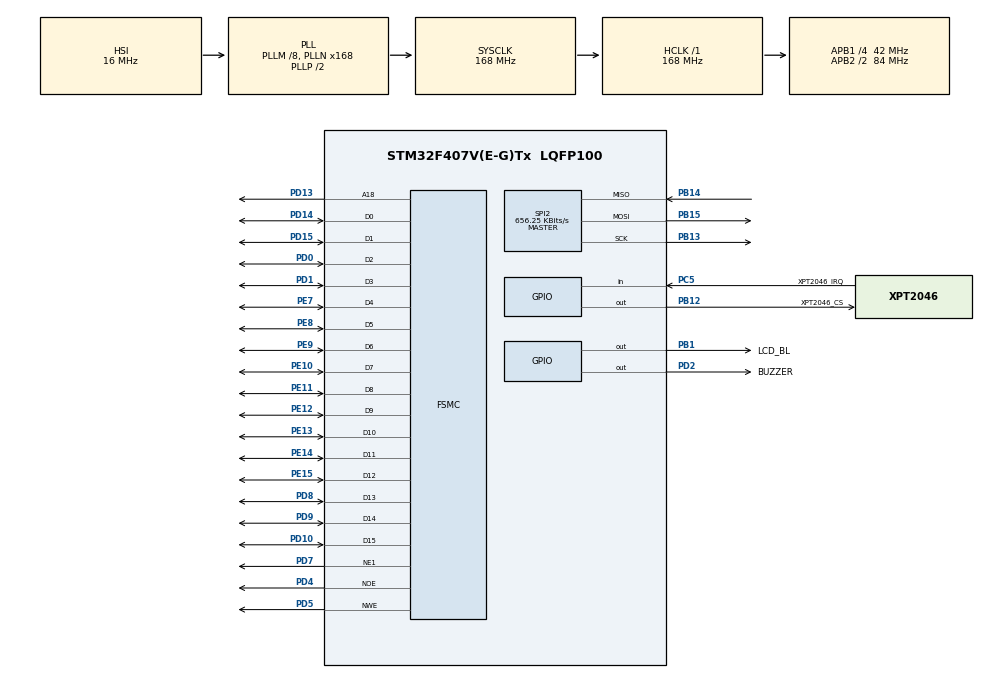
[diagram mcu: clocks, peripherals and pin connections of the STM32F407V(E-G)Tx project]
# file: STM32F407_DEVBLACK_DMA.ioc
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Mcu.Family=STM32F4
PD7.Mode=NorPsramChipSelect1_1
RCC.CortexFreq_Value=168000000
SPI2.VirtualType=VM_MASTER
PB13.Signal=SPI2_SCK
PB15.Signal=SPI2_MOSI
PD9.Mode=16b-d1
RCC.SYSCLKSource=RCC_SYSCLKSOURCE_PLLCLK
ProjectManager.StackSize=0x400
PD13.Signal=FSMC_A18
PE11.Mode=16b-d1
RCC.HCLKFreq_Value=168000000
PD4.Signal=FSMC_NOE
RCC.APB2TimFreq_Value=168000000
PD10.Mode=16b-d1
PD0.Signal=FSMC_D2
PD8.Signal=FSMC_D13
FREERTOS.configMINIMAL_STACK_SIZE=512
RCC.AHBFreq_Value=168000000
SPI2.BaudRatePrescaler=SPI_BAUDRATEPRESCALER_64
PD5.Mode=Lcd1
RCC.HSE_VALUE=25000000
FREERTOS.configUSE_TIMERS=1
PB12.GPIO_Label=XPT2046_CS
PE13.Signal=FSMC_D10
PE9.Signal=FSMC_D6
PB14.Mode=Full_Duplex_Master
PD14.Mode=16b-d1
VP_SYS_VS_tim1.Mode=TIM1
Dma.MEMTOMEM.0.Instance=DMA2_Stream0
PB1.GPIO_Label=LCD_BL
SPI2.CalculateBaudRate=656.25 KBits/s
PE13.Mode=16b-d1
VP_FREERTOS_VS_CMSIS_V1.Mode=CMSIS_V1
PE10.Signal=FSMC_D7
PB1.PinState=GPIO_PIN_SET
PD15.Mode=16b-d1
Mcu.Package=LQFP100
PB1.Signal=GPIO_Output
NVIC.TimeBase=TIM1_UP_TIM10_IRQn
SPI2.Mode=SPI_MODE_MASTER
Dma.MEMTOMEM.0.PeriphInc=DMA_PINC_ENABLE
NVIC.TimeBaseIP=TIM1
Dma.MEMTOMEM.0.FIFOThreshold=DMA_FIFO_THRESHOLD_FULL
PE9.Mode=16b-d1
RCC.APB2CLKDivider=RCC_HCLK_DIV2
PD4.Mode=Lcd1
RCC.APB1TimFreq_Value=84000000
SPI2.Direction=SPI_DIRECTION_2LINES
PC5.Signal=GPIO_Input
PB13.Mode=Full_Duplex_Master
PE7.Signal=FSMC_D4
Dma.Request0=MEMTOMEM
PD15.Signal=FSMC_D1
PE12.Mode=16b-d1
Dma.MEMTOMEM.0.MemDataAlignment=DMA_MDATAALIGN_HALFWORD
FREERTOS.Tasks01=defaultTask,0,512,StartDefaultTask,Default,NULL,Static,defaultTaskBuffer,defaultTaskControlBlock
Dma.MEMTOMEM.0.Priority=DMA_PRIORITY_LOW
FSMC.ExtendedMode1=FSMC_EXTENDED_MODE_ENABLE
PE10.Mode=16b-d1
PD7.Signal=FSMC_NE1
PD1.Signal=FSMC_D3
PD9.Signal=FSMC_D14
PD5.Signal=FSMC_NWE
RCC.APB1CLKDivider=RCC_HCLK_DIV4
PE8.Mode=16b-d1
PD10.Signal=FSMC_D15
ProjectManager.TargetToolchain=STM32CubeIDE
PD13.Mode=A18_1
Dma.MEMTOMEM.0.FIFOMode=DMA_FIFOMODE_ENABLE
PE11.Signal=FSMC_D8
RCC.LSE_VALUE=32768
PD8.Mode=16b-d1
Dma.MEMTOMEM.0.MemBurst=DMA_MBURST_SINGLE
PB14.Signal=SPI2_MISO
FREERTOS.MEMORY_ALLOCATION=1
PD2.PinState=GPIO_PIN_SET
board=custom
RCC.VCOOutputFreq_Value=336000000
PB15.Mode=Full_Duplex_Master
PD1.Mode=16b-d1
RCC.APB2Freq_Value=84000000
PE14.Signal=FSMC_D11
PE15.Signal=FSMC_D12
PE8.Signal=FSMC_D5
PE14.Mode=16b-d1
Mcu.Name=STM32F407V(E-G)Tx
PD0.Mode=16b-d1
PE12.Signal=FSMC_D9
PD14.Signal=FSMC_D0
Dma.MEMTOMEM.0.PeriphDataAlignment=DMA_PDATAALIGN_HALFWORD
RCC.48MHZClocksFreq_Value=84000000
RCC.SYSCLKFreq_VALUE=168000000
PE7.Mode=16b-d1
Dma.MEMTOMEM.0.Mode=DMA_NORMAL
Dma.MEMTOMEM.0.PeriphBurst=DMA_PBURST_SINGLE
PC5.GPIO_Label=XPT2046_IRQ
Dma.MEMTOMEM.0.MemInc=DMA_MINC_ENABLE
ProjectManager.HeapSize=0x200
NVIC.TIM1_UP_TIM10_IRQn=true\:0\:0\:false\:false\:true\:false\:false\:true
RCC.HSI_VALUE=16000000
NVIC.PriorityGroup=NVIC_PRIORITYGROUP_4
RCC.PLLM=8
RCC.PLLN=168
Dma.MEMTOMEM.0.Direction=DMA_MEMORY_TO_MEMORY
PD2.Signal=GPIO_Output
RCC.APB1Freq_Value=42000000
PB12.Signal=GPIO_Output
PD2.GPIO_Label=BUZZER
PE15.Mode=16b-d1

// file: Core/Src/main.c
/* USER CODE BEGIN Header */
/**
  ******************************************************************************
  * @file           : main.c
  * @brief          : Main program body
  ******************************************************************************
  * @attention
  *
  * <h2><center>&copy; Copyright (c) 2021 STMicroelectronics.
  * All rights reserved.</center></h2>
  *
  * This software component is licensed by ST under BSD 3-Clause license,
  * the "License"; You may not use this file except in compliance with the
  * License. You may obtain a copy of the License at:
  *                        opensource.org/licenses/BSD-3-Clause
  *
  ******************************************************************************
  */
/* USER CODE END Header */
#include "main.h"
#include "cmsis_os.h"

/* USER CODE BEGIN Includes */

#include "lcd.h"
#include "lvgl.h"
#include "touch.h"
#include "generated/gui_guider.h"
#define RESCALE_FACTOR 1000000

/* USER CODE END Includes */

SPI_HandleTypeDef hspi2;

DMA_HandleTypeDef hdma_memtomem_dma2_stream0;
SRAM_HandleTypeDef hsram1;

osThreadId defaultTaskHandle;
uint32_t defaultTaskBuffer[ 512 ];
osStaticThreadDef_t defaultTaskControlBlock;
/* USER CODE BEGIN PV */

extern uint8_t notcomplete;

void TransferComplete(DMA_HandleTypeDef *_hdma)
{
	notcomplete = 0;

}
void TransferError(DMA_HandleTypeDef *_hdma)
{

}

lv_ui guider_ui;

/* USER CODE END PV */

void SystemClock_Config(void);
static void MX_GPIO_Init(void);
static void MX_DMA_Init(void);
static void MX_FSMC_Init(void);
static void MX_SPI2_Init(void);
void StartDefaultTask(void const * argument);

/* USER CODE BEGIN 0 */

/*******************************************************************************
function:
		Use the default calibration factor
*******************************************************************************/
#if 0
uint8_t TP_GetTouch_CB(lv_indev_drv_t * drv, lv_indev_data_t *data)
//uint8_t TP_GetTouch(void)
{
	static int16_t last_x = 0;
	static int16_t last_y = 0;

	TP_Scan(0);
	if (sTP_DEV.chStatus & TP_PRESS_DOWN)
	{
		//sTP_Draw.Xpoint = sTP_DEV.fXfac * sTP_DEV.Xpoint + sTP_DEV.iXoff;
		//sTP_Draw.Ypoint = sTP_DEV.fYfac * sTP_DEV.Ypoint + sTP_DEV.iYoff;
		data->point.x = sTP_Draw.Xpoint;
		data->point.y = sTP_Draw.Ypoint;
		last_x = data->point.x;
		last_y = data->point.y;
		data->state = LV_INDEV_STATE_PR;
	}
	else
	{
		data->point.x = last_x;
		data->point.y = last_y;
		data->state = LV_INDEV_STATE_REL;
	}
	return(false);
}
#endif
void TP_Init( )
{
    lv_indev_drv_t indev_drv;
    lv_indev_drv_init(&indev_drv);
    indev_drv.read_cb = XPT2046_TouchGetCoordinates;
    indev_drv.type = LV_INDEV_TYPE_POINTER;
    lv_indev_drv_register(&indev_drv);
}

int32_t A2 = 834850;
int32_t B2 = -9625;
int32_t C2 = 23783610;
int32_t D2 = -10244;
int32_t E2 = 888915;
int32_t F2 = 26261272;
uint16_t TSC_Value_X;
uint16_t TSC_Value_Y;
uint16_t LCD_Width  = 240;
uint16_t LCD_Height = 320;

void TP_Calibrate(void)
{
	  uint32_t coordinate_X1a = 0, coordinate_X2a = 0, coordinate_X3a = 0, coordinate_X4a = 0, coordinate_X5a = 0;
	  uint32_t coordinate_Y1a = 0, coordinate_Y2a = 0, coordinate_Y3a = 0, coordinate_Y4a = 0, coordinate_Y5a = 0;
	  uint32_t coordinate_X1b = 0, coordinate_X2b = 0, coordinate_X3b = 0, coordinate_X4b = 0, coordinate_X5b = 0;
	  uint32_t coordinate_Y1b = 0, coordinate_Y2b = 0, coordinate_Y3b = 0, coordinate_Y4b = 0, coordinate_Y5b = 0;
	  uint32_t coordinate_X1 = 0, coordinate_X2 = 0, coordinate_X3 = 0, coordinate_X4 = 0, coordinate_X5 = 0;
	  uint32_t coordinate_Y1 = 0, coordinate_Y2 = 0, coordinate_Y3 = 0, coordinate_Y4 = 0, coordinate_Y5 = 0;
	  uint16_t Xd1 = (LCD_Width / 2), Xd2 = 1 * (LCD_Width / 5), Xd3 = 4 * (LCD_Width / 5), Xd4 = 4 * (LCD_Width / 5), Xd5 = 1 * (LCD_Width / 5);
	  uint16_t Yd1 = (LCD_Height / 2), Yd2 = 1 * (LCD_Height / 5), Yd3 = 1 * (LCD_Height / 5), Yd4 = 4 * (LCD_Height / 5), Yd5 = 4 * (LCD_Height / 5);
	  double A = 0.0, B = 0.0, C = 0.0, D = 0.0, E = 0.0, F = 0.0;
	  double d = 0.0, dx1 = 0.0, dx2 = 0.0, dx3 = 0.0, dy1 = 0.0, dy2 = 0.0, dy3 = 0.0;
	  uint32_t X2_1 = 0, X2_2 = 0, X2_3 = 0, X2_4 = 0, X2_5 = 0;
	  uint32_t Y2_1 = 0, Y2_2 = 0, Y2_3 = 0, Y2_4 = 0, Y2_5 = 0;
	  uint32_t XxY_1 = 0, XxY_2 = 0, XxY_3 = 0, XxY_4 = 0, XxY_5 = 0;
	  uint32_t XxXd_1 = 0, XxXd_2 = 0, XxXd_3 = 0, XxXd_4 = 0, XxXd_5 = 0;
	  uint32_t YxXd_1 = 0, YxXd_2 = 0, YxXd_3 = 0, YxXd_4 = 0, YxXd_5 = 0;
	  uint32_t XxYd_1 = 0, XxYd_2 = 0, XxYd_3 = 0, XxYd_4 = 0, XxYd_5 = 0;
	  uint32_t YxYd_1 = 0, YxYd_2 = 0, YxYd_3 = 0, YxYd_4 = 0, YxYd_5 = 0;
	  uint32_t alfa = 0, beta = 0, chi = 0, Kx = 0, Ky = 0, Lx = 0, Ly = 0;
	  uint16_t epsilon = 0, fi = 0, Mx = 0, My = 0;

	  LCD_Clear(BLUE);
	  LCD_Fill((Xd1 - 5),(Yd1 - 5),(Xd1 + 5),(Yd1 + 5),WHITE);
	  while((XPT2046_CAL_TouchGetCoordinates(&TSC_Value_X, &TSC_Value_Y)) == false);
	  coordinate_X1a = TSC_Value_X;
	  coordinate_Y1a = TSC_Value_Y;
	  coordinate_X1b = TSC_Value_X;
	  coordinate_Y1b = TSC_Value_Y;
	  LCD_Fill(((TSC_Value_X) - 2),((TSC_Value_Y) - 2),((TSC_Value_X) + 2),((TSC_Value_Y) + 2),BLACK);
	  while((XPT2046_CAL_TouchGetCoordinates(&TSC_Value_X, &TSC_Value_Y)) != false);
	  HAL_Delay(500);

	  LCD_Clear(BLUE);
	  LCD_Fill((Xd2 - 5),(Yd2 - 5),(Xd2 + 5),(Yd2 + 5),WHITE);
	  while((XPT2046_CAL_TouchGetCoordinates(&TSC_Value_X, &TSC_Value_Y)) == false);
	  coordinate_X2a = TSC_Value_X;
	  coordinate_Y2a = TSC_Value_Y;
	  coordinate_X2b = TSC_Value_X;
	  coordinate_Y2b = TSC_Value_Y;
	  LCD_Fill(((TSC_Value_X) - 2),((TSC_Value_Y) - 2),((TSC_Value_X) + 2),((TSC_Value_Y) + 2),BLACK);
	  while((XPT2046_CAL_TouchGetCoordinates(&TSC_Value_X, &TSC_Value_Y)) != false);
	  HAL_Delay(500);

	  LCD_Clear(BLUE);
	  LCD_Fill((Xd3 - 5),(Yd3 - 5),(Xd3 + 5),(Yd3 + 5),WHITE);
	  while((XPT2046_CAL_TouchGetCoordinates(&TSC_Value_X, &TSC_Value_Y)) == false);
	  coordinate_X3a = TSC_Value_X;
	  coordinate_Y3a = TSC_Value_Y;
	  coordinate_X3b = TSC_Value_X;
	  coordinate_Y3b = TSC_Value_Y;
	  LCD_Fill(((TSC_Value_X) - 2),((TSC_Value_Y) - 2),((TSC_Value_X) + 2),((TSC_Value_Y) + 2),BLACK);
	  while((XPT2046_CAL_TouchGetCoordinates(&TSC_Value_X, &TSC_Value_Y)) != false);
	  HAL_Delay(500);

	  LCD_Clear(BLUE);
	  LCD_Fill((Xd4 - 5),(Yd4 - 5),(Xd4 + 5),(Yd4 + 5),WHITE);
	  while((XPT2046_CAL_TouchGetCoordinates(&TSC_Value_X, &TSC_Value_Y)) == false);
	  coordinate_X4a = TSC_Value_X;
	  coordinate_Y4a = TSC_Value_Y;
	  coordinate_X4b = TSC_Value_X;
	  coordinate_Y4b = TSC_Value_Y;
	  LCD_Fill(((TSC_Value_X) - 2),((TSC_Value_Y) - 2),((TSC_Value_X) + 2),((TSC_Value_Y) + 2),BLACK);
	  while((XPT2046_CAL_TouchGetCoordinates(&TSC_Value_X, &TSC_Value_Y)) != false);
	  HAL_Delay(500);

	  LCD_Clear(BLUE);
	  LCD_Fill((Xd5 - 5),(Yd5 - 5),(Xd5 + 5),(Yd5 + 5),WHITE);
	  while((XPT2046_CAL_TouchGetCoordinates(&TSC_Value_X, &TSC_Value_Y)) == false);
	  coordinate_X5a = TSC_Value_X;
	  coordinate_Y5a = TSC_Value_Y;
	  coordinate_X5b = TSC_Value_X;
	  coordinate_Y5b = TSC_Value_Y;
	  LCD_Fill(((TSC_Value_X) - 2),((TSC_Value_Y) - 2),((TSC_Value_X) + 2),((TSC_Value_Y) + 2),BLACK);
	  while((XPT2046_CAL_TouchGetCoordinates(&TSC_Value_X, &TSC_Value_Y)) != false);
	  //HAL_Delay(5000);

	  /* Average between X and Y coupled Touchscreen values */
	  coordinate_X1 = (coordinate_X1a + coordinate_X1b) / 2;
	  coordinate_X2 = (coordinate_X2a + coordinate_X2b) / 2;
	  coordinate_X3 = (coordinate_X3a + coordinate_X3b) / 2;
	  coordinate_X4 = (coordinate_X4a + coordinate_X4b) / 2;
	  coordinate_X5 = (coordinate_X5a + coordinate_X5b) / 2;

	  coordinate_Y1 = (coordinate_Y1a + coordinate_Y1b) / 2;
	  coordinate_Y2 = (coordinate_Y2a + coordinate_Y2b) / 2;
	  coordinate_Y3 = (coordinate_Y3a + coordinate_Y3b) / 2;
	  coordinate_Y4 = (coordinate_Y4a + coordinate_Y4b) / 2;
	  coordinate_Y5 = (coordinate_Y5a + coordinate_Y5b) / 2;

	  X2_1 = (coordinate_X1 * coordinate_X1);
	  X2_2 = (coordinate_X2 * coordinate_X2);
	  X2_3 = (coordinate_X3 * coordinate_X3);
	  X2_4 = (coordinate_X4 * coordinate_X4);
	  X2_5 = (coordinate_X5 * coordinate_X5);

	  Y2_1 = (coordinate_Y1 * coordinate_Y1);
	  Y2_2 = (coordinate_Y2 * coordinate_Y2);
	  Y2_3 = (coordinate_Y3 * coordinate_Y3);
	  Y2_4 = (coordinate_Y4 * coordinate_Y4);
	  Y2_5 = (coordinate_Y5 * coordinate_Y5);

	  XxY_1 = (coordinate_X1 * coordinate_Y1);
	  XxY_2 = (coordinate_X2 * coordinate_Y2);
	  XxY_3 = (coordinate_X3 * coordinate_Y3);
	  XxY_4 = (coordinate_X4 * coordinate_Y4);
	  XxY_5 = (coordinate_X5 * coordinate_Y5);

	  XxXd_1 = ( coordinate_X1 * Xd1 );
	  XxXd_2 = ( coordinate_X2 * Xd2 );
	  XxXd_3 = ( coordinate_X3 * Xd3 );
	  XxXd_4 = ( coordinate_X4 * Xd4 );
	  XxXd_5 = ( coordinate_X5 * Xd5 );

	  YxXd_1 = ( coordinate_Y1 * Xd1 );
	  YxXd_2 = ( coordinate_Y2 * Xd2 );
	  YxXd_3 = ( coordinate_Y3 * Xd3 );
	  YxXd_4 = ( coordinate_Y4 * Xd4 );
	  YxXd_5 = ( coordinate_Y5 * Xd5 );

	  XxYd_1 = ( coordinate_X1 * Yd1 );
	  XxYd_2 = ( coordinate_X2 * Yd2 );
	  XxYd_3 = ( coordinate_X3 * Yd3 );
	  XxYd_4 = ( coordinate_X4 * Yd4 );
	  XxYd_5 = ( coordinate_X5 * Yd5 );

	  YxYd_1 = ( coordinate_Y1 * Yd1 );
	  YxYd_2 = ( coordinate_Y2 * Yd2 );
	  YxYd_3 = ( coordinate_Y3 * Yd3 );
	  YxYd_4 = ( coordinate_Y4 * Yd4 );
	  YxYd_5 = ( coordinate_Y5 * Yd5 );

	  alfa = X2_1 + X2_2 + X2_3 + X2_4 + X2_5;
	  beta = Y2_1 + Y2_2 + Y2_3 + Y2_4 + Y2_5;
	  chi = XxY_1 + XxY_2 + XxY_3 + XxY_4 + XxY_5;
	  epsilon = coordinate_X1 + coordinate_X2 + coordinate_X3 + coordinate_X4 + coordinate_X5;
	  fi = coordinate_Y1 + coordinate_Y2 + coordinate_Y3 + coordinate_Y4 + coordinate_Y5;
	  Kx = XxXd_1 + XxXd_2 + XxXd_3 + XxXd_4 + XxXd_5;
	  Ky = XxYd_1 + XxYd_2 + XxYd_3 + XxYd_4 + XxYd_5;
	  Lx = YxXd_1 + YxXd_2 + YxXd_3 + YxXd_4 + YxXd_5;
	  Ly = YxYd_1 + YxYd_2 + YxYd_3 + YxYd_4 + YxYd_5;
	  Mx = Xd1 + Xd2 + Xd3 + Xd4 + Xd5;
	  My = Yd1 + Yd2 + Yd3 + Yd4 + Yd5;

	  d = 5 * ( ((double)alfa * beta) - ((double)chi * chi) ) + 2 * ((double)chi * epsilon * fi) - ((double)alfa * fi * fi ) - ( (double)beta * epsilon * epsilon );
	  dx1 = 5 * ( ((double)Kx * beta) - ((double)Lx * chi) ) + ((double)fi * ( ((double)Lx * epsilon) - ((double)Kx * fi) )) + ((double)Mx * ( ((double)chi * fi) - ((double)beta * epsilon) ));
	  dx2 = 5 * ( ((double)Lx * alfa) - ((double)Kx * chi) ) + ((double)epsilon * ( ((double)Kx * fi) - ((double)Lx * epsilon) )) + ((double)Mx * ( ((double)chi * epsilon) - ((double)alfa * fi) ));
	  dx3 = ((double)Kx * ( ((double)chi * fi) - ((double)beta * epsilon) )) + ((double)Lx * ( ((double)chi * epsilon) - ((double)alfa * fi) )) + ((double)Mx * ( ((double)alfa * beta) - ((double)chi * chi) ));
	  dy1 = 5 * ( ((double)Ky * beta) - ((double)Ly * chi) ) + ((double)fi * ( ((double)Ly * epsilon) - ((double)Ky * fi) )) + ((double)My * ( ((double)chi * fi) - ((double)beta * epsilon) ));
	  dy2 = 5 * ( ((double)Ly * alfa) - ((double)Ky * chi) ) + ((double)epsilon * ( ((double)Ky * fi) - ((double)Ly * epsilon) )) + ((double)My * ( ((double)chi * epsilon) - ((double)alfa * fi) ));
	  dy3 = ((double)Ky * ( ((double)chi * fi) - ((double)beta * epsilon) )) + ((double)Ly * ( ((double)chi * epsilon) - ((double)alfa * fi) )) + ((double)My * ( ((double)alfa * beta) - ((double)chi * chi) ));

	  A = dx1 / d;
	  B = dx2 / d;
	  C = dx3 / d;
	  D = dy1 / d;
	  E = dy2 / d;
	  F = dy3 / d;

	  /* To avoid computation with "double" variables A, B, C, D, E, F, we use the s32 variables
	     A2, B2, C2, D2, E2, F2, multiplied for a Scale Factor equal to 100000 to retain the precision*/
	  A2 = (int32_t)(A * RESCALE_FACTOR);
	  B2 = (int32_t)(B * RESCALE_FACTOR);
	  C2 = (int32_t)(C * RESCALE_FACTOR);
	  D2 = (int32_t)(D * RESCALE_FACTOR);
	  E2 = (int32_t)(E * RESCALE_FACTOR);
	  F2 = (int32_t)(F * RESCALE_FACTOR);

}

/* USER CODE END 0 */

int main(void)
{

  /* MCU Configuration--------------------------------------------------------*/

  /* Reset of all peripherals, Initializes the Flash interface and the Systick. */
  HAL_Init();

  /* Configure the system clock */
  SystemClock_Config();

  /* Initialize all configured peripherals */
  MX_GPIO_Init();
  MX_DMA_Init();
  MX_FSMC_Init();
  MX_SPI2_Init();
  /* USER CODE BEGIN 2 */
  /*##-5- Select Callbacks functions called after Transfer complete and Transfer error */
  HAL_DMA_RegisterCallback(&hdma_memtomem_dma2_stream0, HAL_DMA_XFER_CPLT_CB_ID, TransferComplete);
  HAL_DMA_RegisterCallback(&hdma_memtomem_dma2_stream0, HAL_DMA_XFER_ERROR_CB_ID, TransferError);

  /*##-6- Configure NVIC for DMA transfer complete/error interrupts ##########*/
  /* Set Interrupt Group Priority */
  HAL_NVIC_SetPriority(DMA2_Stream0_IRQn, 0, 0);

  /* Enable the DMA STREAM global Interrupt */
  HAL_NVIC_EnableIRQ(DMA2_Stream0_IRQn);

  lv_init();

  LCD_Init();
 //TP_Calibrate();

  //LCD_Clear(White);
  //LCD_Fill(10,10,20,20,BLUE);

  TP_Init();

  setup_ui(&guider_ui);

  /* USER CODE END 2 */

  /* Create the thread(s) */
  /* definition and creation of defaultTask */
  osThreadStaticDef(defaultTask, StartDefaultTask, osPriorityNormal, 0, 512, defaultTaskBuffer, &defaultTaskControlBlock);
  defaultTaskHandle = osThreadCreate(osThread(defaultTask), NULL);

  /* Start scheduler */
  osKernelStart();

  /* We should never get here as control is now taken by the scheduler */
  /* Infinite loop */
  while (1)
  {

    /* USER CODE BEGIN 3 */
	  lv_task_handler();
	  HAL_Delay(5);
	  lv_tick_inc(5);

	  //XPT2046_TouchGetCoordinates(&x, &y);

  }
  /* USER CODE END 3 */
}

void SystemClock_Config(void)
{
  RCC_OscInitTypeDef RCC_OscInitStruct = {0};
  RCC_ClkInitTypeDef RCC_ClkInitStruct = {0};

  /** Configure the main internal regulator output voltage
  */
  __HAL_RCC_PWR_CLK_ENABLE();
  __HAL_PWR_VOLTAGESCALING_CONFIG(PWR_REGULATOR_VOLTAGE_SCALE1);
  /** Initializes the RCC Oscillators according to the specified parameters
  * in the RCC_OscInitTypeDef structure.
  */
  RCC_OscInitStruct.OscillatorType = RCC_OSCILLATORTYPE_HSI;
  RCC_OscInitStruct.HSIState = RCC_HSI_ON;
  RCC_OscInitStruct.HSICalibrationValue = RCC_HSICALIBRATION_DEFAULT;
  RCC_OscInitStruct.PLL.PLLState = RCC_PLL_ON;
  RCC_OscInitStruct.PLL.PLLSource = RCC_PLLSOURCE_HSI;
  RCC_OscInitStruct.PLL.PLLM = 8;
  RCC_OscInitStruct.PLL.PLLN = 168;
  RCC_OscInitStruct.PLL.PLLP = RCC_PLLP_DIV2;
  RCC_OscInitStruct.PLL.PLLQ = 4;
  if (HAL_RCC_OscConfig(&RCC_OscInitStruct) != HAL_OK)
  {
    Error_Handler();
  }
  /** Initializes the CPU, AHB and APB buses clocks
  */
  RCC_ClkInitStruct.ClockType = RCC_CLOCKTYPE_HCLK|RCC_CLOCKTYPE_SYSCLK
                              |RCC_CLOCKTYPE_PCLK1|RCC_CLOCKTYPE_PCLK2;
  RCC_ClkInitStruct.SYSCLKSource = RCC_SYSCLKSOURCE_PLLCLK;
  RCC_ClkInitStruct.AHBCLKDivider = RCC_SYSCLK_DIV1;
  RCC_ClkInitStruct.APB1CLKDivider = RCC_HCLK_DIV4;
  RCC_ClkInitStruct.APB2CLKDivider = RCC_HCLK_DIV2;

  if (HAL_RCC_ClockConfig(&RCC_ClkInitStruct, FLASH_LATENCY_5) != HAL_OK)
  {
    Error_Handler();
  }
}

static void MX_SPI2_Init(void)
{

  /* SPI2 parameter configuration*/
  hspi2.Instance = SPI2;
  hspi2.Init.Mode = SPI_MODE_MASTER;
  hspi2.Init.Direction = SPI_DIRECTION_2LINES;
  hspi2.Init.DataSize = SPI_DATASIZE_8BIT;
  hspi2.Init.CLKPolarity = SPI_POLARITY_LOW;
  hspi2.Init.CLKPhase = SPI_PHASE_1EDGE;
  hspi2.Init.NSS = SPI_NSS_SOFT;
  hspi2.Init.BaudRatePrescaler = SPI_BAUDRATEPRESCALER_64;
  hspi2.Init.FirstBit = SPI_FIRSTBIT_MSB;
  hspi2.Init.TIMode = SPI_TIMODE_DISABLE;
  hspi2.Init.CRCCalculation = SPI_CRCCALCULATION_DISABLE;
  hspi2.Init.CRCPolynomial = 10;
  if (HAL_SPI_Init(&hspi2) != HAL_OK)
  {
    Error_Handler();
  }

}

static void MX_DMA_Init(void)
{

  /* DMA controller clock enable */
  __HAL_RCC_DMA2_CLK_ENABLE();

  /* Configure DMA request hdma_memtomem_dma2_stream0 on DMA2_Stream0 */
  hdma_memtomem_dma2_stream0.Instance = DMA2_Stream0;
  hdma_memtomem_dma2_stream0.Init.Channel = DMA_CHANNEL_0;
  hdma_memtomem_dma2_stream0.Init.Direction = DMA_MEMORY_TO_MEMORY;
  hdma_memtomem_dma2_stream0.Init.PeriphInc = DMA_PINC_ENABLE;
  hdma_memtomem_dma2_stream0.Init.MemInc = DMA_MINC_ENABLE;
  hdma_memtomem_dma2_stream0.Init.PeriphDataAlignment = DMA_PDATAALIGN_HALFWORD;
  hdma_memtomem_dma2_stream0.Init.MemDataAlignment = DMA_MDATAALIGN_HALFWORD;
  hdma_memtomem_dma2_stream0.Init.Mode = DMA_NORMAL;
  hdma_memtomem_dma2_stream0.Init.Priority = DMA_PRIORITY_LOW;
  hdma_memtomem_dma2_stream0.Init.FIFOMode = DMA_FIFOMODE_ENABLE;
  hdma_memtomem_dma2_stream0.Init.FIFOThreshold = DMA_FIFO_THRESHOLD_FULL;
  hdma_memtomem_dma2_stream0.Init.MemBurst = DMA_MBURST_SINGLE;
  hdma_memtomem_dma2_stream0.Init.PeriphBurst = DMA_PBURST_SINGLE;
  if (HAL_DMA_Init(&hdma_memtomem_dma2_stream0) != HAL_OK)
  {
    Error_Handler( );
  }

}

static void MX_GPIO_Init(void)
{
  GPIO_InitTypeDef GPIO_InitStruct = {0};

  /* GPIO Ports Clock Enable */
  __HAL_RCC_GPIOC_CLK_ENABLE();
  __HAL_RCC_GPIOB_CLK_ENABLE();
  __HAL_RCC_GPIOE_CLK_ENABLE();
  __HAL_RCC_GPIOD_CLK_ENABLE();

  /*Configure GPIO pin Output Level */
  HAL_GPIO_WritePin(LCD_BL_GPIO_Port, LCD_BL_Pin, GPIO_PIN_SET);

  /*Configure GPIO pin Output Level */
  HAL_GPIO_WritePin(XPT2046_CS_GPIO_Port, XPT2046_CS_Pin, GPIO_PIN_RESET);

  /*Configure GPIO pin Output Level */
  HAL_GPIO_WritePin(BUZZER_GPIO_Port, BUZZER_Pin, GPIO_PIN_SET);

  /*Configure GPIO pin : XPT2046_IRQ_Pin */
  GPIO_InitStruct.Pin = XPT2046_IRQ_Pin;
  GPIO_InitStruct.Mode = GPIO_MODE_INPUT;
  GPIO_InitStruct.Pull = GPIO_NOPULL;
  HAL_GPIO_Init(XPT2046_IRQ_GPIO_Port, &GPIO_InitStruct);

  /*Configure GPIO pins : LCD_BL_Pin XPT2046_CS_Pin */
  GPIO_InitStruct.Pin = LCD_BL_Pin|XPT2046_CS_Pin;
  GPIO_InitStruct.Mode = GPIO_MODE_OUTPUT_PP;
  GPIO_InitStruct.Pull = GPIO_NOPULL;
  GPIO_InitStruct.Speed = GPIO_SPEED_FREQ_LOW;
  HAL_GPIO_Init(GPIOB, &GPIO_InitStruct);

  /*Configure GPIO pin : BUZZER_Pin */
  GPIO_InitStruct.Pin = BUZZER_Pin;
  GPIO_InitStruct.Mode = GPIO_MODE_OUTPUT_PP;
  GPIO_InitStruct.Pull = GPIO_NOPULL;
  GPIO_InitStruct.Speed = GPIO_SPEED_FREQ_LOW;
  HAL_GPIO_Init(BUZZER_GPIO_Port, &GPIO_InitStruct);

}

/* FSMC initialization function */
static void MX_FSMC_Init(void)
{

  FSMC_NORSRAM_TimingTypeDef Timing = {0};
  FSMC_NORSRAM_TimingTypeDef ExtTiming = {0};

  /** Perform the SRAM1 memory initialization sequence
  */
  hsram1.Instance = FSMC_NORSRAM_DEVICE;
  hsram1.Extended = FSMC_NORSRAM_EXTENDED_DEVICE;
  /* hsram1.Init */
  hsram1.Init.NSBank = FSMC_NORSRAM_BANK1;
  hsram1.Init.DataAddressMux = FSMC_DATA_ADDRESS_MUX_DISABLE;
  hsram1.Init.MemoryType = FSMC_MEMORY_TYPE_SRAM;
  hsram1.Init.MemoryDataWidth = FSMC_NORSRAM_MEM_BUS_WIDTH_16;
  hsram1.Init.BurstAccessMode = FSMC_BURST_ACCESS_MODE_DISABLE;
  hsram1.Init.WaitSignalPolarity = FSMC_WAIT_SIGNAL_POLARITY_LOW;
  hsram1.Init.WrapMode = FSMC_WRAP_MODE_DISABLE;
  hsram1.Init.WaitSignalActive = FSMC_WAIT_TIMING_BEFORE_WS;
  hsram1.Init.WriteOperation = FSMC_WRITE_OPERATION_ENABLE;
  hsram1.Init.WaitSignal = FSMC_WAIT_SIGNAL_DISABLE;
  hsram1.Init.ExtendedMode = FSMC_EXTENDED_MODE_ENABLE;
  hsram1.Init.AsynchronousWait = FSMC_ASYNCHRONOUS_WAIT_DISABLE;
  hsram1.Init.WriteBurst = FSMC_WRITE_BURST_DISABLE;
  hsram1.Init.PageSize = FSMC_PAGE_SIZE_NONE;
  /* Timing */
  Timing.AddressSetupTime = 15;
  Timing.AddressHoldTime = 15;
  Timing.DataSetupTime = 255;
  Timing.BusTurnAroundDuration = 15;
  Timing.CLKDivision = 16;
  Timing.DataLatency = 17;
  Timing.AccessMode = FSMC_ACCESS_MODE_A;
  /* ExtTiming */
  ExtTiming.AddressSetupTime = 15;
  ExtTiming.AddressHoldTime = 15;
  ExtTiming.DataSetupTime = 255;
  ExtTiming.BusTurnAroundDuration = 15;
  ExtTiming.CLKDivision = 16;
  ExtTiming.DataLatency = 17;
  ExtTiming.AccessMode = FSMC_ACCESS_MODE_A;

  if (HAL_SRAM_Init(&hsram1, &Timing, &ExtTiming) != HAL_OK)
  {
    Error_Handler( );
  }

}

void StartDefaultTask(void const * argument)
{
  /* USER CODE BEGIN 5 */
  /* Infinite loop */
  for(;;)
  {
    osDelay(1);
    lv_tick_inc(5);
    lv_task_handler();
	//HAL_Delay(5);

  }
  /* USER CODE END 5 */
}

 /**
  * @brief  Period elapsed callback in non blocking mode
  * @note   This function is called  when TIM1 interrupt took place, inside
  * HAL_TIM_IRQHandler(). It makes a direct call to HAL_IncTick() to increment
  * a global variable "uwTick" used as application time base.
  * @param  htim : TIM handle
  * @retval None
  */
void HAL_TIM_PeriodElapsedCallback(TIM_HandleTypeDef *htim)
{
  if (htim->Instance == TIM1) {
    HAL_IncTick();
  }
}

void Error_Handler(void)
{
  __disable_irq();
  while (1)
  {
  }
}

/************************ (C) COPYRIGHT STMicroelectronics *****END OF FILE****/
